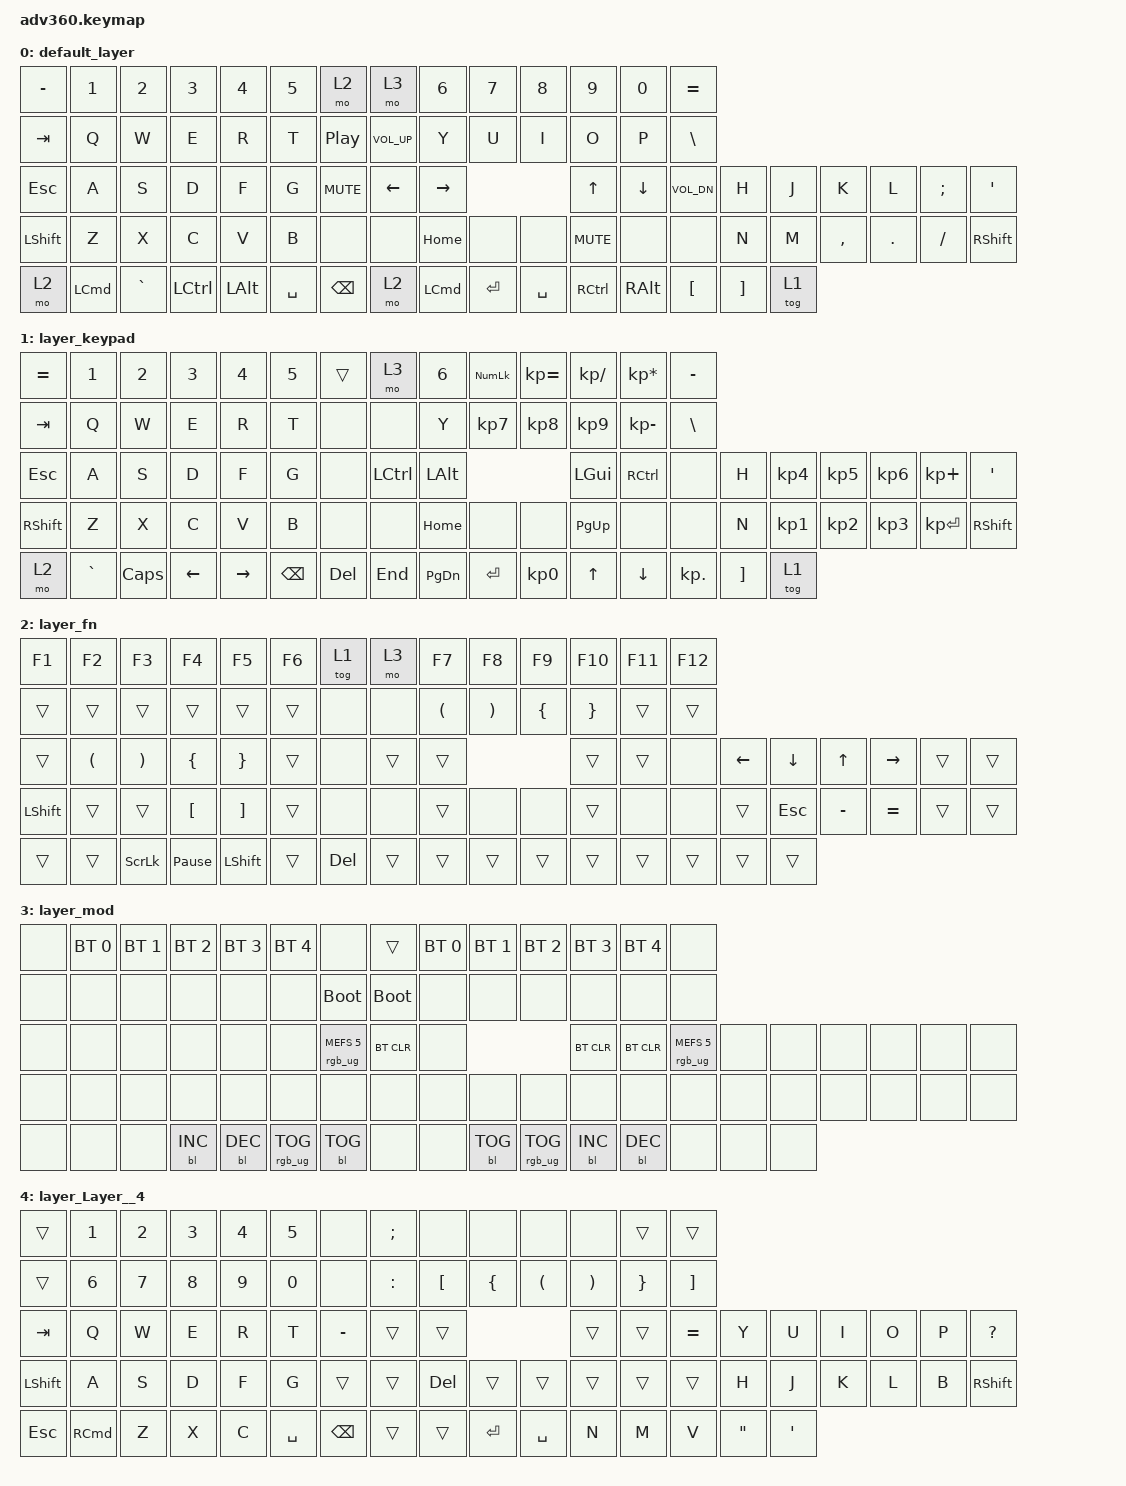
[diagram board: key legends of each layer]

/*
 * Copyright (c) 2020 The ZMK Contributors
 *
 * SPDX-License-Identifier: MIT
 */


/* THIS FILE WAS GENERATED!
 *
 * This file was generated automatically. You may or may not want to
 * edit it directly.
 */

#include <behaviors.dtsi>
#include <dt-bindings/zmk/keys.h>
#include <dt-bindings/zmk/bt.h>
#include <dt-bindings/zmk/rgb.h>
#include <dt-bindings/zmk/backlight.h>

/ {
  behaviors {
    #include "macros.dtsi"

    hm: homerow_mods {
        compatible = "zmk,behavior-hold-tap";
        label = "HOMEROW_MODS";
        #binding-cells = <2>;
        tapping-term-ms = <200>;
        quick_tap_ms = <175>;
        flavor = "tap-preferred";
        bindings = <&kp>, <&kp>;
    };
  };

    keymap {
        compatible = "zmk,keymap";


        default_layer {
            bindings = <
 &kp MINUS    &kp N1     &kp N2     &kp N3    &kp N4     &kp N5                       &mo 2         &mo 3     &kp N6     &kp N7     &kp N8      &kp N9         &kp N0     &kp EQUAL
   &kp TAB     &kp Q      &kp W      &kp E     &kp R      &kp T            &kp C_PLAY_PAUSE  &kp C_VOL_UP      &kp Y      &kp U      &kp I       &kp O          &kp P      &kp BSLH
   &kp ESC     &kp A      &kp S      &kp D     &kp F      &kp G                  &kp C_MUTE      &kp LEFT  &kp RIGHT                            &kp UP       &kp DOWN  &kp C_VOL_DN     &kp H   &kp J      &kp K    &kp L  &kp SEMI    &kp SQT
 &kp LSHFT     &kp Z      &kp X      &kp C     &kp V      &kp B                       &none         &none   &kp HOME      &none      &none  &kp C_MUTE          &none         &none     &kp N   &kp M  &kp COMMA  &kp DOT  &kp FSLH  &kp RSHFT
     &mo 2  &kp LCMD  &kp GRAVE  &kp LCTRL  &kp LALT  &kp SPACE                    &kp BSPC         &mo 2   &kp LCMD  &kp ENTER  &kp SPACE   &kp RCTRL  &kp RIGHT_ALT      &kp LBKT  &kp RBKT  &tog 1
            >;
        };

        layer_keypad {
            bindings = <
       &kp EQUAL     &kp N1    &kp N2    &kp N3     &kp N4    &kp N5             &trans      &mo 3     &kp N6  &kp KP_NUM  &kp KP_EQUAL  &kp KP_DIVIDE  &kp KP_MULTIPLY   &kp MINUS
         &kp TAB      &kp Q     &kp W     &kp E      &kp R     &kp T              &none      &none      &kp Y   &kp KP_N7     &kp KP_N8      &kp KP_N9     &kp KP_MINUS    &kp BSLH
         &kp ESC      &kp A     &kp S     &kp D      &kp F     &kp G              &none  &kp LCTRL   &kp LALT                                 &kp LGUI        &kp RCTRL       &none     &kp H  &kp KP_N4  &kp KP_N5  &kp KP_N6   &kp KP_PLUS          &kp SQT
 &kp RIGHT_SHIFT      &kp Z     &kp X     &kp C      &kp V     &kp B              &none      &none   &kp HOME       &none         &none      &kp PG_UP            &none       &none     &kp N  &kp KP_N1  &kp KP_N2  &kp KP_N3  &kp KP_ENTER  &kp RIGHT_SHIFT
           &mo 2  &kp GRAVE  &kp CAPS  &kp LEFT  &kp RIGHT  &kp BSPC            &kp DEL    &kp END  &kp PG_DN   &kp ENTER     &kp KP_N0         &kp UP         &kp DOWN  &kp KP_DOT  &kp RBKT     &tog 1
            >;
        };

        layer_fn {
            bindings = <
         &kp F1                &kp F2                 &kp F3            &kp F4             &kp F5  &kp F6             &tog 1   &mo 3                &kp F7                 &kp F8          &kp F9          &kp F10  &kp F11  &kp F12
         &trans                &trans                 &trans            &trans             &trans  &trans              &none   &none  &kp LEFT_PARENTHESIS  &kp RIGHT_PARENTHESIS  &kp LEFT_BRACE  &kp RIGHT_BRACE   &trans   &trans
         &trans  &kp LEFT_PARENTHESIS  &kp RIGHT_PARENTHESIS    &kp LEFT_BRACE    &kp RIGHT_BRACE  &trans              &none  &trans                &trans                                                  &trans   &trans    &none  &kp LEFT  &kp DOWN     &kp UP  &kp RIGHT  &trans  &trans
 &kp LEFT_SHIFT                &trans                 &trans  &kp LEFT_BRACKET  &kp RIGHT_BRACKET  &trans              &none   &none                &trans                  &none           &none           &trans    &none    &none    &trans   &kp ESC  &kp MINUS  &kp EQUAL  &trans  &trans
         &trans                &trans         &kp SCROLLLOCK   &kp PAUSE_BREAK     &kp LEFT_SHIFT  &trans            &kp DEL  &trans                &trans                 &trans          &trans           &trans   &trans   &trans    &trans    &trans
            >;
        };

        layer_mod {
            bindings = <
  &none  &bt BT_SEL 0  &bt BT_SEL 1  &bt BT_SEL 2  &bt BT_SEL 3     &bt BT_SEL 4                             &none       &trans  &bt BT_SEL 0  &bt BT_SEL 1     &bt BT_SEL 2  &bt BT_SEL 3  &bt BT_SEL 4                   &none
  &none         &none         &none         &none         &none            &none                       &bootloader  &bootloader         &none         &none            &none         &none         &none                   &none
  &none         &none         &none         &none         &none            &none            &rgb_ug RGB_MEFS_CMD 5   &bt BT_CLR         &none                                   &bt BT_CLR    &bt BT_CLR  &rgb_ug RGB_MEFS_CMD 5   &none   &none   &none   &none   &none   &none
  &none         &none         &none         &none         &none            &none                             &none        &none         &none         &none            &none         &none         &none                   &none   &none   &none   &none   &none   &none   &none
  &none         &none         &none    &bl BL_INC    &bl BL_DEC  &rgb_ug RGB_TOG                        &bl BL_TOG        &none         &none    &bl BL_TOG  &rgb_ug RGB_TOG    &bl BL_INC    &bl BL_DEC                   &none   &none   &none
            >;
        };

        layer_Layer__4 {
            bindings = <
         &trans    &kp N1  &kp N2  &kp N3  &kp N4     &kp N5                    &none  &kp SEMICOLON             &none           &none                 &none                  &none           &trans             &trans
         &trans    &kp N6  &kp N7  &kp N8  &kp N9     &kp N0                    &none      &kp COLON  &kp LEFT_BRACKET  &kp LEFT_BRACE  &kp LEFT_PARENTHESIS  &kp RIGHT_PARENTHESIS  &kp RIGHT_BRACE  &kp RIGHT_BRACKET
        &kp TAB     &kp Q   &kp W   &kp E   &kp R      &kp T                &kp MINUS         &trans            &trans                                                       &trans           &trans          &kp EQUAL              &kp Y             &kp U   &kp I   &kp O   &kp P     &kp QUESTION
 &kp LEFT_SHIFT     &kp A   &kp S   &kp D   &kp F      &kp G                   &trans         &trans           &kp DEL          &trans                &trans                 &trans           &trans             &trans              &kp H             &kp J   &kp K   &kp L   &kp B  &kp RIGHT_SHIFT
        &kp ESC  &kp RCMD   &kp Z   &kp X   &kp C  &kp SPACE            &kp BACKSPACE         &trans            &trans       &kp ENTER             &kp SPACE                  &kp N            &kp M              &kp V  &kp DOUBLE_QUOTES  &kp SINGLE_QUOTE
            >;
        };

    };
};
